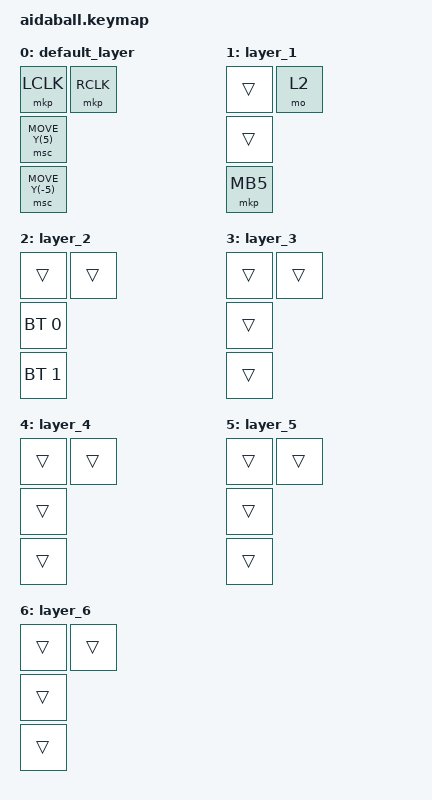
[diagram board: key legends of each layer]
#include <input/processors.dtsi>
#include <dt-bindings/zmk/input_transform.h>
#include <zephyr/dt-bindings/input/input-event-codes.h>
#include <behaviors.dtsi>
#include <dt-bindings/zmk/bt.h>
#include <dt-bindings/zmk/pointing.h>

#define ZMK_POINTING_DEFAULT_SCRL_VAL 100
#define MOUSE 0

&mt {
    flavor = "balanced";
    quick-tap-ms = <0>;
};

/ {
    behaviors {
        lt_mkp: lt_mkp {
            compatible = "zmk,behavior-hold-tap";
            label = "LT_MKP";
            bindings = <&mo>, <&mkp>;

            #binding-cells = <2>;
            tapping-term-ms = <200>;
        };
    };

    keymap {
        compatible = "zmk,keymap";

        default_layer {
            bindings = <
&mkp LCLK       &mkp RCLK
&msc MOVE_Y(5)  &msc MOVE_Y(-5)
            >;
        };

        layer_1 {
            bindings = <
&trans  &mo 2
&trans  &mkp MB5
            >;
        };

        layer_2 {
            bindings = <
&trans        &trans
&bt BT_SEL 0  &bt BT_SEL 1
            >;
        };

        layer_3 {
            bindings = <
&trans  &trans
&trans  &trans
            >;
        };

        layer_4 {
            bindings = <
&trans  &trans
&trans  &trans
            >;
        };

        layer_5 {
            bindings = <
&trans  &trans
&trans  &trans
            >;
        };

        layer_6 {
            bindings = <
&trans  &trans
&trans  &trans
            >;
        };

        // //ユーザがinput-processorsを変更したい場合はここに書く
        // &trackball_listener {
        //     input-processors =
        //         <&zip_xy_transform INPUT_TRANSFORM_XY_SWAP>,
        //         <&zip_temp_layer 3 500>;
        // };
    };
};
